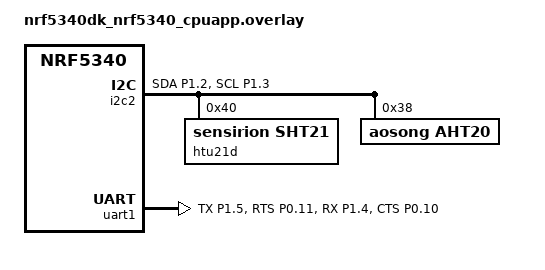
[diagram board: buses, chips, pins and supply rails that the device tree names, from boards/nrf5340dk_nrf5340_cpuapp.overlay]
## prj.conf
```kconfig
CONFIG_LOG=y
CONFIG_THREAD_NAME=y
CONFIG_SENSOR=y
CONFIG_SI7006=y
CONFIG_CBPRINTF_FP_SUPPORT=y
CONFIG_DHT20=y
CONFIG_SERIAL=y
CONFIG_UART_ASYNC_API=y
CONFIG_HW_STACK_PROTECTION=y
```

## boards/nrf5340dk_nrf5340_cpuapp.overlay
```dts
&i2c2 {
    status = "okay";
    pinctrl-0 = <&i2c2_default>;
    pinctrl-1 = <&i2c2_sleep>;
    pinctrl-names = "default", "sleep";
};

&i2c2 {
	htu21d@40 {
        compatible = "sensirion,sht21";
        reg = <0x40>;
        status = "okay";
    };
    
    aht20@38 {
        compatible = "aosong,aht20";
        reg = <0x38>;
        status = "okay";
    };

    status = "okay";
};

&i2c0 {
    status = "disabled";
};

&i2c1 {
    status = "disabled";
};

&uart1 {
    status = "okay";
    pinctrl-0 = <&uart1_default>;
	pinctrl-1 = <&uart1_sleep>;
    pinctrl-names = "default", "sleep";
};

&pinctrl {
	i2c2_default: i2c1_default {
		group1 {
			psels = <NRF_PSEL(TWIM_SDA, 1, 2)>,
				<NRF_PSEL(TWIM_SCL, 1, 3)>;
		};
	};

	i2c2_sleep: i2c1_sleep {
		group1 {
			psels = <NRF_PSEL(TWIM_SDA, 1, 2)>,
				<NRF_PSEL(TWIM_SCL, 1, 3)>;
			low-power-enable;
		};
	};

    uart1_default: uart1_default {
		group1 {
			psels = <NRF_PSEL(UART_TX, 1, 5)>,
				<NRF_PSEL(UART_RTS, 0, 11)>;
		};

		group2 {
			psels = <NRF_PSEL(UART_RX, 1, 4)>,
				<NRF_PSEL(UART_CTS, 0, 10)>;
			bias-pull-up;
		};
	};

	uart1_sleep: uart1_sleep {
		group1 {
			psels = <NRF_PSEL(UART_TX, 1, 5)>,
				<NRF_PSEL(UART_RX, 1, 4)>,
				<NRF_PSEL(UART_RTS, 0, 11)>,
				<NRF_PSEL(UART_CTS, 0, 10)>;
			low-power-enable;
		};
	};
};
```

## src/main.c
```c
#include <zephyr/kernel.h>
#include <zephyr/logging/log.h>

LOG_MODULE_REGISTER(main);

#define K_THREAD_A_SLEEP_MS    100U
#define K_THREAD_B_SLEEP_MS    300U

#define K_THREAD_A_STACK_SIZE  1024U
#define K_THREAD_B_STACK_SIZE  1024U
#define K_PRIORITY_THREAD_A    1 
#define K_PRIORITY_THREAD_B    1 

void thread_a_fn(void* p1, void* p2, void* p3)
{
    LOG_INF("[A] Thread A launched!!");
    while (1) {
        LOG_INF("[A] is running tick=%u", k_uptime_get_32());
        k_msleep(K_THREAD_A_SLEEP_MS);
    }
}

void thread_b_fn(void* p1, void* p2, void* p3)
{
    LOG_INF("[B] Thread B launched!!");
    while (1) {
        LOG_INF("[B] is running tick=%u", k_uptime_get_32());
        k_msleep(K_THREAD_B_SLEEP_MS);
    }
}

K_THREAD_DEFINE(thread_a, K_THREAD_A_STACK_SIZE, thread_a_fn, NULL, NULL, NULL, K_PRIORITY_THREAD_A, 0, 0);
K_THREAD_DEFINE(thread_b, K_THREAD_A_STACK_SIZE, thread_b_fn, NULL, NULL, NULL, K_PRIORITY_THREAD_B, 0, 0);

int main()
{
    LOG_INF("Application started!!");
    return 0;
}
```
